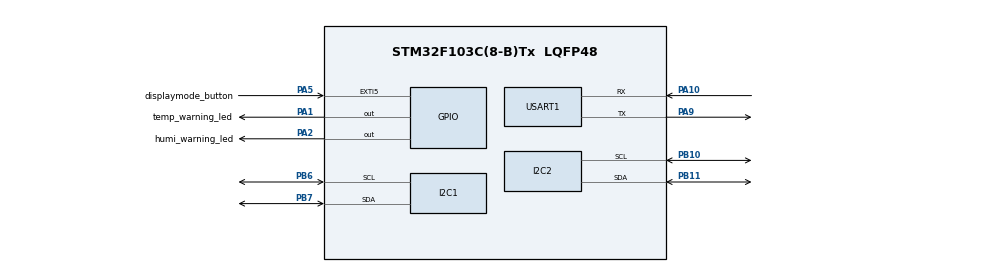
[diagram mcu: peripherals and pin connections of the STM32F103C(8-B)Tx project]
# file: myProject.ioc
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FREERTOS.Mutexes01=myMutex01,Dynamic,NULL,Available
FREERTOS.Queues01=temp_data_Queue,16,float,0,Dynamic,NULL,NULL;button_it_Queue,16,uint16_t,0,Dynamic,NULL,NULL;button_send_Queue,16,uint16_t,0,Dynamic,NULL,NULL;uart_Queue,16,uint16_t,0,Dynamic,NULL,NULL;humi_data_Queue,16,float,0,Dynamic,NULL,NULL;temp_warning_queue,16,uint16_t,0,Dynamic,NULL,NULL;humi_warning_queue,16,uint16_t,0,Dynamic,NULL,NULL
FREERTOS.Tasks01=Sensor_Task,0,512,Sensor_startTask,Default,NULL,Dynamic,NULL,NULL;OLED_Task,1,256,OLED_startTask,Default,NULL,Dynamic,NULL,NULL;Button_Task,3,128,Button_startTask,Default,NULL,Dynamic,NULL,NULL;Uart_Task,0,128,Uart_startTask,Default,NULL,Dynamic,NULL,NULL;Warning_Task,2,128,Warning_startTask,Default,NULL,Dynamic,NULL,NULL
FREERTOS.configTOTAL_HEAP_SIZE=7168
FREERTOS.configUSE_NEWLIB_REENTRANT=1
I2C1.I2C_Mode=I2C_Fast
I2C2.I2C_Mode=I2C_Fast
Mcu.Family=STM32F1
Mcu.Name=STM32F103C(8-B)Tx
Mcu.Package=LQFP48
NVIC.EXTI9_5_IRQn=true\:5\:0\:false\:false\:true\:true\:true\:true\:true
NVIC.I2C2_EV_IRQn=true\:5\:0\:false\:false\:true\:true\:true\:true\:true
NVIC.PriorityGroup=NVIC_PRIORITYGROUP_4
NVIC.TIM4_IRQn=true\:15\:0\:false\:false\:true\:false\:false\:true\:true
NVIC.TimeBase=TIM4_IRQn
NVIC.TimeBaseIP=TIM4
NVIC.USART1_IRQn=true\:5\:0\:false\:false\:true\:true\:true\:true\:true
PA1.GPIO_Label=temp_warning_led
PA1.GPIO_Speed=GPIO_SPEED_FREQ_HIGH
PA1.PinState=GPIO_PIN_SET
PA1.Signal=GPIO_Output
PA10.Mode=Asynchronous
PA10.Signal=USART1_RX
PA2.GPIO_Label=humi_warning_led
PA2.GPIO_Speed=GPIO_SPEED_FREQ_HIGH
PA2.PinState=GPIO_PIN_SET
PA2.Signal=GPIO_Output
PA5.GPIO_Label=displaymode_button
PA5.GPIO_ModeDefaultEXTI=GPIO_MODE_IT_RISING
PA5.GPIO_PuPd=GPIO_PULLDOWN
PA5.Signal=GPXTI5
PA9.Mode=Asynchronous
PA9.Signal=USART1_TX
PB10.Mode=I2C
PB10.Signal=I2C2_SCL
PB11.Mode=I2C
PB11.Signal=I2C2_SDA
PB6.Mode=I2C
PB6.Signal=I2C1_SCL
PB7.Mode=I2C
PB7.Signal=I2C1_SDA
ProjectManager.HeapSize=0x200
ProjectManager.StackSize=0x400
ProjectManager.TargetToolchain=STM32CubeIDE
RCC.APB1Freq_Value=8000000
RCC.APB2Freq_Value=8000000
USART1.VirtualMode=VM_ASYNC
VP_FREERTOS_VS_CMSIS_V1.Mode=CMSIS_V1
VP_SYS_VS_ND.Mode=No_Debug
VP_SYS_VS_tim4.Mode=TIM4
board=custom

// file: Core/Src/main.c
/* USER CODE BEGIN Header */
/**
  ******************************************************************************
  * @file           : main.c
  * @brief          : Main program body
  ******************************************************************************
  * @attention
  *
  * Copyright (c) 2025 STMicroelectronics.
  * All rights reserved.
  *
  * This software is licensed under terms that can be found in the LICENSE file
  * in the root directory of this software component.
  * If no LICENSE file comes with this software, it is provided AS-IS.
  *
  ******************************************************************************
  */
/* USER CODE END Header */
#include "main.h"
#include "cmsis_os.h"

/* USER CODE BEGIN Includes */
#include "stdio.h"
#include "string.h"
#include "fonts.h"
#include "ssd1306.h"
#include "test.h"
#include "bitmap.h"
#include "sht31.h"
#include <stdbool.h>
/* USER CODE END Includes */

/* USER CODE BEGIN PD */
#define rx_buffer_size 100
/* USER CODE END PD */

I2C_HandleTypeDef hi2c1;
I2C_HandleTypeDef hi2c2;

UART_HandleTypeDef huart1;

osThreadId Sensor_TaskHandle;
osThreadId OLED_TaskHandle;
osThreadId Button_TaskHandle;
osThreadId Uart_TaskHandle;
osThreadId Warning_TaskHandle;
osMessageQId temp_data_QueueHandle;
osMessageQId button_it_QueueHandle;
osMessageQId button_send_QueueHandle;
osMessageQId uart_QueueHandle;
osMessageQId humi_data_QueueHandle;
osMessageQId temp_warning_queueHandle;
osMessageQId humi_warning_queueHandle;
osMutexId myMutex01Handle;
/* USER CODE BEGIN PV */

uint8_t rx_input=0;
uint8_t rx_buffer[rx_buffer_size];
uint8_t rx_index=0;

/* USER CODE END PV */

void SystemClock_Config(void);
static void MX_GPIO_Init(void);
static void MX_I2C1_Init(void);
static void MX_I2C2_Init(void);
static void MX_USART1_UART_Init(void);
void Sensor_startTask(void const * argument);
void OLED_startTask(void const * argument);
void Button_startTask(void const * argument);
void Uart_startTask(void const * argument);
void Warning_startTask(void const * argument);

/* USER CODE BEGIN 0 */
void HAL_UART_RxCpltCallback(UART_HandleTypeDef *huart){               //xshell_input_interrupt
	if(huart->Instance==USART1){
		if(rx_input=='\r' || rx_input == '\n'){
			 rx_buffer[rx_index]='\0';                                 // this is the main item : if delete it, error

			uint8_t uart_cmd=0;
			if(strcmp((char*)rx_buffer, "start")==0){
				uart_cmd = 1;
				BaseType_t xHigherPriorityTaskWoken = pdFALSE;
			    xQueueSendFromISR(uart_QueueHandle, &uart_cmd, &xHigherPriorityTaskWoken);
			}
			else if(strcmp((char*)rx_buffer, "stop")==0){
				uart_cmd = 2;
				BaseType_t xHigherPriorityTaskWoken = pdFALSE;
				xQueueSendFromISR(uart_QueueHandle, &uart_cmd, &xHigherPriorityTaskWoken);
			}

			rx_index=0;
		}
		else{
			if(rx_index < rx_buffer_size-1){
				rx_buffer[rx_index++] = rx_input;
			}
		}
	}

	HAL_UART_Receive_IT(&huart1, &rx_input, 1);
}

void HAL_GPIO_EXTI_Callback(uint16_t GPIO_Pin){                                           // switch_iterrupt
	if(GPIO_Pin == GPIO_PIN_5){
		uint8_t button_cmd=1;
		BaseType_t xHigherPriorityTaskWoken = pdFALSE;

		xQueueSendFromISR(button_it_QueueHandle, &button_cmd, &xHigherPriorityTaskWoken);
		portYIELD_FROM_ISR(xHigherPriorityTaskWoken);
	}
}

void Scan_I2C_Devices(I2C_HandleTypeDef *hi2c)
{
    char msg[32];
    for (uint8_t addr = 1; addr < 127; addr++)
    {
        if (HAL_I2C_IsDeviceReady(hi2c, (addr << 1), 2, 100) == HAL_OK)
        {
            snprintf(msg, sizeof(msg), "Found device at 0x%02X\r\n", addr);
            HAL_UART_Transmit(&huart1, (uint8_t *)msg, strlen(msg), HAL_MAX_DELAY);
        }
    }
}
/* USER CODE END 0 */

int main(void)
{

  /* MCU Configuration--------------------------------------------------------*/

  /* Reset of all peripherals, Initializes the Flash interface and the Systick. */
  HAL_Init();

  /* Configure the system clock */
  SystemClock_Config();

  /* Initialize all configured peripherals */
  MX_GPIO_Init();
  MX_I2C1_Init();
  MX_I2C2_Init();
  MX_USART1_UART_Init();
  /* USER CODE BEGIN 2 */
  SSD1306_Init();

HAL_UART_Receive_IT(&huart1, &rx_input, 1);

Scan_I2C_Devices(&hi2c2);
/*
  SSD1306_GotoXY (0,0);  //Location(x,y)
  SSD1306_Puts ("LIM", &Font_11x18, 1);
  SSD1306_GotoXY (0, 30);
  SSD1306_Puts ("CHANGHYEON", &Font_11x18, 1);
  SSD1306_UpdateScreen();
  HAL_Delay (2000);
*/
  /* USER CODE END 2 */

  /* Create the mutex(es) */
  /* definition and creation of myMutex01 */
  osMutexDef(myMutex01);
  myMutex01Handle = osMutexCreate(osMutex(myMutex01));

  /* Create the queue(s) */
  /* definition and creation of temp_data_Queue */
  osMessageQDef(temp_data_Queue, 16, float);
  temp_data_QueueHandle = osMessageCreate(osMessageQ(temp_data_Queue), NULL);

  /* definition and creation of button_it_Queue */
  osMessageQDef(button_it_Queue, 16, uint16_t);
  button_it_QueueHandle = osMessageCreate(osMessageQ(button_it_Queue), NULL);

  /* definition and creation of button_send_Queue */
  osMessageQDef(button_send_Queue, 16, uint16_t);
  button_send_QueueHandle = osMessageCreate(osMessageQ(button_send_Queue), NULL);

  /* definition and creation of uart_Queue */
  osMessageQDef(uart_Queue, 16, uint16_t);
  uart_QueueHandle = osMessageCreate(osMessageQ(uart_Queue), NULL);

  /* definition and creation of humi_data_Queue */
  osMessageQDef(humi_data_Queue, 16, float);
  humi_data_QueueHandle = osMessageCreate(osMessageQ(humi_data_Queue), NULL);

  /* definition and creation of temp_warning_queue */
  osMessageQDef(temp_warning_queue, 16, uint16_t);
  temp_warning_queueHandle = osMessageCreate(osMessageQ(temp_warning_queue), NULL);

  /* definition and creation of humi_warning_queue */
  osMessageQDef(humi_warning_queue, 16, uint16_t);
  humi_warning_queueHandle = osMessageCreate(osMessageQ(humi_warning_queue), NULL);

  /* Create the thread(s) */
  /* definition and creation of Sensor_Task */
  osThreadDef(Sensor_Task, Sensor_startTask, osPriorityNormal, 0, 512);
  Sensor_TaskHandle = osThreadCreate(osThread(Sensor_Task), NULL);

  /* definition and creation of OLED_Task */
  osThreadDef(OLED_Task, OLED_startTask, osPriorityAboveNormal, 0, 256);
  OLED_TaskHandle = osThreadCreate(osThread(OLED_Task), NULL);

  /* definition and creation of Button_Task */
  osThreadDef(Button_Task, Button_startTask, osPriorityRealtime, 0, 128);
  Button_TaskHandle = osThreadCreate(osThread(Button_Task), NULL);

  /* definition and creation of Uart_Task */
  osThreadDef(Uart_Task, Uart_startTask, osPriorityNormal, 0, 128);
  Uart_TaskHandle = osThreadCreate(osThread(Uart_Task), NULL);

  /* definition and creation of Warning_Task */
  osThreadDef(Warning_Task, Warning_startTask, osPriorityHigh, 0, 128);
  Warning_TaskHandle = osThreadCreate(osThread(Warning_Task), NULL);

  /* USER CODE BEGIN RTOS_THREADS */
  /* add threads, ... */
  vTaskSuspend(Sensor_TaskHandle);
  /* USER CODE END RTOS_THREADS */

  /* Start scheduler */
  osKernelStart();

  /* We should never get here as control is now taken by the scheduler */

  /* Infinite loop */
  while (1)
  {

  }
}

void SystemClock_Config(void)
{
  RCC_OscInitTypeDef RCC_OscInitStruct = {0};
  RCC_ClkInitTypeDef RCC_ClkInitStruct = {0};

  /** Initializes the RCC Oscillators according to the specified parameters
  * in the RCC_OscInitTypeDef structure.
  */
  RCC_OscInitStruct.OscillatorType = RCC_OSCILLATORTYPE_HSI;
  RCC_OscInitStruct.HSIState = RCC_HSI_ON;
  RCC_OscInitStruct.HSICalibrationValue = RCC_HSICALIBRATION_DEFAULT;
  RCC_OscInitStruct.PLL.PLLState = RCC_PLL_NONE;
  if (HAL_RCC_OscConfig(&RCC_OscInitStruct) != HAL_OK)
  {
    Error_Handler();
  }

  /** Initializes the CPU, AHB and APB buses clocks
  */
  RCC_ClkInitStruct.ClockType = RCC_CLOCKTYPE_HCLK|RCC_CLOCKTYPE_SYSCLK
                              |RCC_CLOCKTYPE_PCLK1|RCC_CLOCKTYPE_PCLK2;
  RCC_ClkInitStruct.SYSCLKSource = RCC_SYSCLKSOURCE_HSI;
  RCC_ClkInitStruct.AHBCLKDivider = RCC_SYSCLK_DIV1;
  RCC_ClkInitStruct.APB1CLKDivider = RCC_HCLK_DIV1;
  RCC_ClkInitStruct.APB2CLKDivider = RCC_HCLK_DIV1;

  if (HAL_RCC_ClockConfig(&RCC_ClkInitStruct, FLASH_LATENCY_0) != HAL_OK)
  {
    Error_Handler();
  }
}

static void MX_I2C1_Init(void)
{

  hi2c1.Instance = I2C1;
  hi2c1.Init.ClockSpeed = 400000;
  hi2c1.Init.DutyCycle = I2C_DUTYCYCLE_2;
  hi2c1.Init.OwnAddress1 = 0;
  hi2c1.Init.AddressingMode = I2C_ADDRESSINGMODE_7BIT;
  hi2c1.Init.DualAddressMode = I2C_DUALADDRESS_DISABLE;
  hi2c1.Init.OwnAddress2 = 0;
  hi2c1.Init.GeneralCallMode = I2C_GENERALCALL_DISABLE;
  hi2c1.Init.NoStretchMode = I2C_NOSTRETCH_DISABLE;
  if (HAL_I2C_Init(&hi2c1) != HAL_OK)
  {
    Error_Handler();
  }

}

static void MX_I2C2_Init(void)
{

  hi2c2.Instance = I2C2;
  hi2c2.Init.ClockSpeed = 400000;
  hi2c2.Init.DutyCycle = I2C_DUTYCYCLE_2;
  hi2c2.Init.OwnAddress1 = 0;
  hi2c2.Init.AddressingMode = I2C_ADDRESSINGMODE_7BIT;
  hi2c2.Init.DualAddressMode = I2C_DUALADDRESS_DISABLE;
  hi2c2.Init.OwnAddress2 = 0;
  hi2c2.Init.GeneralCallMode = I2C_GENERALCALL_DISABLE;
  hi2c2.Init.NoStretchMode = I2C_NOSTRETCH_DISABLE;
  if (HAL_I2C_Init(&hi2c2) != HAL_OK)
  {
    Error_Handler();
  }

}

static void MX_USART1_UART_Init(void)
{

  huart1.Instance = USART1;
  huart1.Init.BaudRate = 115200;
  huart1.Init.WordLength = UART_WORDLENGTH_8B;
  huart1.Init.StopBits = UART_STOPBITS_1;
  huart1.Init.Parity = UART_PARITY_NONE;
  huart1.Init.Mode = UART_MODE_TX_RX;
  huart1.Init.HwFlowCtl = UART_HWCONTROL_NONE;
  huart1.Init.OverSampling = UART_OVERSAMPLING_16;
  if (HAL_UART_Init(&huart1) != HAL_OK)
  {
    Error_Handler();
  }

}

static void MX_GPIO_Init(void)
{
  GPIO_InitTypeDef GPIO_InitStruct = {0};

  /* GPIO Ports Clock Enable */
  __HAL_RCC_GPIOA_CLK_ENABLE();
  __HAL_RCC_GPIOB_CLK_ENABLE();

  /*Configure GPIO pin Output Level */
  HAL_GPIO_WritePin(GPIOA, temp_warning_led_Pin|humi_warning_led_Pin, GPIO_PIN_SET);

  /*Configure GPIO pins : temp_warning_led_Pin humi_warning_led_Pin */
  GPIO_InitStruct.Pin = temp_warning_led_Pin|humi_warning_led_Pin;
  GPIO_InitStruct.Mode = GPIO_MODE_OUTPUT_PP;
  GPIO_InitStruct.Pull = GPIO_NOPULL;
  GPIO_InitStruct.Speed = GPIO_SPEED_FREQ_HIGH;
  HAL_GPIO_Init(GPIOA, &GPIO_InitStruct);

  /*Configure GPIO pin : displaymode_button_Pin */
  GPIO_InitStruct.Pin = displaymode_button_Pin;
  GPIO_InitStruct.Mode = GPIO_MODE_IT_RISING;
  GPIO_InitStruct.Pull = GPIO_PULLDOWN;
  HAL_GPIO_Init(displaymode_button_GPIO_Port, &GPIO_InitStruct);

  /* EXTI interrupt init*/
  HAL_NVIC_SetPriority(EXTI9_5_IRQn, 5, 0);
  HAL_NVIC_EnableIRQ(EXTI9_5_IRQn);

}

void Sensor_startTask(void const * argument)
{
  /* USER CODE BEGIN 5 */

	float temperature = 0.0f;
	float humidity = 0.0f;

	/* Infinite loop */
  for(;;)
  {
	  HAL_StatusTypeDef ret = SHT31_ReadTempHum(&hi2c2, &temperature, &humidity);

	  if (ret == HAL_OK){
		  xQueueSend(temp_data_QueueHandle, &temperature, 0);
		  xQueueSend(humi_data_QueueHandle, &humidity, 0);
	  }
	  else{
		  const char *msg = "SHT31 Read Error\r\n";
		  HAL_UART_Transmit(&huart1, (uint8_t *)msg, strlen(msg), HAL_MAX_DELAY);
	  }
	  osDelay(2000);
  }
  /* USER CODE END 5 */
}

void OLED_startTask(void const * argument)
{
  /* USER CODE BEGIN OLED_startTask */

	float temperature = 0.0f, humidity = 0.0f;
	uint8_t display_mode = 0;
	uint8_t button_send_cmd = 0;
	char line[32];

	SSD1306_Init();
	SSD1306_Clear();
	SSD1306_UpdateScreen();

  /* Infinite loop */
  for(;;)
  {
	  if (xQueueReceive(button_send_QueueHandle, &button_send_cmd, 0) == pdPASS){
		 display_mode = (display_mode + 1) % 3;
	  }

	  BaseType_t temp_ok = xQueueReceive(temp_data_QueueHandle, &temperature, 10);
	  BaseType_t humi_ok = xQueueReceive(humi_data_QueueHandle, &humidity, 10);

	  SSD1306_Clear();

	  if (temp_ok == pdPASS && humi_ok == pdPASS) {

		  switch (display_mode)
		  {
		  case 0:
			  snprintf(line, sizeof(line), "Temp: %.2f C", temperature);
			  SSD1306_GotoXY(0, 0);
			  SSD1306_Puts(line, &Font_11x18, 1);
			  snprintf(line, sizeof(line), "Humi: %.2f %%", humidity);
			  SSD1306_GotoXY(0, 20);
			  SSD1306_Puts(line, &Font_11x18, 1);
			  break;

		  case 1:
			  snprintf(line, sizeof(line), "Temp: %.2f C", temperature);
			  SSD1306_GotoXY(0, 0);
			  SSD1306_Puts(line, &Font_11x18, 1);
			  break;

		  case 2:
			  snprintf(line, sizeof(line), "Humi: %.2f %%", humidity);
			  SSD1306_GotoXY(0, 0);
			  SSD1306_Puts(line, &Font_11x18, 1);
			  break;
		  }

		  if(temperature >= 30 || temperature <= 0){
			  uint8_t warning_cmd = 1;
			  xQueueSend(temp_warning_queueHandle, &warning_cmd, portMAX_DELAY);
		  }
		  if(humidity >= 65 || humidity <= 30){
			  uint8_t warning_cmd = 1;
			  xQueueSend(humi_warning_queueHandle, &warning_cmd, portMAX_DELAY);
		  }
		  //warning code

	  }
	  else {
		snprintf(line, sizeof(line), "Temp: 0.00");
		SSD1306_GotoXY(0, 0);
		SSD1306_Puts(line, &Font_11x18, 1);
		snprintf(line, sizeof(line), "Humi: 0.00");
		SSD1306_GotoXY(0, 20);
		SSD1306_Puts(line, &Font_11x18, 1);
	  }
	  SSD1306_UpdateScreen();
	  osDelay(2000);

  }
  /* USER CODE END OLED_startTask */
}

void Button_startTask(void const * argument)
{
  /* USER CODE BEGIN Button_startTask */
  uint8_t button_cmd;

  /* Infinite loop */
  for(;;)
  {
	  if(xQueueReceive(button_it_QueueHandle, &button_cmd, portMAX_DELAY)==pdPASS){

		  uint8_t button_send_cmd=1;
		  xQueueSend(button_send_QueueHandle, &button_send_cmd, portMAX_DELAY);

		  const char *msg="Display mode changed\r\n";
		  HAL_UART_Transmit(&huart1, (uint8_t*)msg, strlen(msg), 10);

		  taskYIELD();
	  }
  }
  /* USER CODE END Button_startTask */
}

void Uart_startTask(void const * argument)
{
  /* USER CODE BEGIN Uart_startTask */
  /* Infinite loop */

  uint8_t uart_cmd_rx;
  for(;;)
  {
    if(xQueueReceive(uart_QueueHandle, &uart_cmd_rx, portMAX_DELAY)==pdPASS){
    	if(uart_cmd_rx==1){
    		char *msg = "sensor start\r\n";
			HAL_UART_Transmit(&huart1, (uint8_t*)msg, strlen(msg), 100);
    		vTaskResume(Sensor_TaskHandle);
    	}
    	else if(uart_cmd_rx==2){
    		char *msg = "sensor stop\r\n";
			HAL_UART_Transmit(&huart1, (uint8_t*)msg, strlen(msg), 100);
    		vTaskSuspend(Sensor_TaskHandle);
    	}
    }

  }
  /* USER CODE END Uart_startTask */
}

void Warning_startTask(void const * argument)
{
  /* USER CODE BEGIN Warning_startTask */
  uint8_t temp_warning_cmd=0;
  uint8_t humi_warning_cmd=0;
  /* Infinite loop */
  for(;;)
  {
	 if (xQueueReceive(temp_warning_queueHandle, &temp_warning_cmd, 0) == pdPASS){
		 if (temp_warning_cmd == 1){
			 char *msg = "temp warning\r\n";
			 HAL_UART_Transmit(&huart1, (uint8_t*)msg, strlen(msg), 10);
			 HAL_GPIO_WritePin(GPIOA, GPIO_PIN_1, GPIO_PIN_RESET);  // temp warning on
		 }
	 }
	 else {
		 HAL_GPIO_WritePin(GPIOA, GPIO_PIN_1, GPIO_PIN_SET);  // temp off
	 }

	 if (xQueueReceive(humi_warning_queueHandle, &humi_warning_cmd, 0) == pdPASS){
		 if (humi_warning_cmd == 1){
			 char *msg = "humi warning\r\n";
			 HAL_UART_Transmit(&huart1, (uint8_t*)msg, strlen(msg), 10);
			 HAL_GPIO_WritePin(GPIOA, GPIO_PIN_2, GPIO_PIN_RESET);  // humi warning on
		 }
	 }
	 else {
		 HAL_GPIO_WritePin(GPIOA, GPIO_PIN_2, GPIO_PIN_SET);  // humi off
	 }

	 osDelay(200);
  }
  /* USER CODE END Warning_startTask */
}

void HAL_TIM_PeriodElapsedCallback(TIM_HandleTypeDef *htim)
{
  if (htim->Instance == TIM4)
  {
    HAL_IncTick();
  }
}

void Error_Handler(void)
{
  __disable_irq();
  while (1)
  {
  }
}
